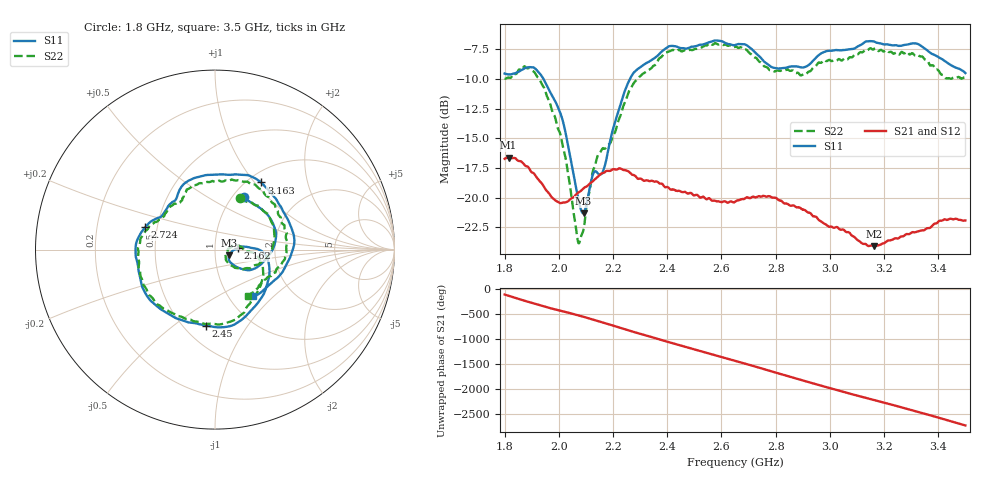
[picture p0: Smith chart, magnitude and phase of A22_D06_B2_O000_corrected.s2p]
! Created with skrf 1.9.0 (http://scikit-rf.org).
# Hz S RI R 50.0
!freq ReS11 ImS11 ReS21 ImS21 ReS12 ImS12 ReS22 ImS22
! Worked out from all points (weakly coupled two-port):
!   1601 points, 1.8 GHz to 3.5 GHz, reference 50 ohm
!   highest |S21| = -16.63 dB at 1.815 GHz (marker M1); lowest = -24.1 dB at 3.164 GHz (marker M2)
!   lowest |S11| = -21.3 dB at 2.091 GHz (marker M3), VSWR 1.19, Z = 58.6 - j3.68 ohm
!   |S11| at or under -10 dB: 1.943 GHz to 2.263 GHz (319.3 MHz wide, 15.2 % of centre)
!   |S22| runs from -23.8 to -7.0 dB; largest |S21 - S12| = 0.0025
!   S11 on the Smith chart (normalised r, x): 1.8 GHz: 1.13, +0.74; 2.162 GHz: 1.29, +0.03; 2.45 GHz: 0.64, -0.66; 2.724 GHz: 0.43, +0.13; 3.163 GHz: 1.15, +1.08; 3.5 GHz: 1.28, -0.75
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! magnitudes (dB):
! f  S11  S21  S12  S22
! 1.8 GHz  -9.6  -16.7  -16.7  -10.0
! 1.815 GHz  -9.6  -16.6  -16.6  -9.9
! 1.88 GHz  -9.1  -17.4  -17.3  -9.1
! 1.943 GHz  -10.0  -19.0  -19.0  -10.7
! 2.013 GHz  -13.4  -20.4  -20.4  -15.4
! 2.068 GHz  -19.6  -19.6  -19.7  -23.3
! 2.084 GHz  -21.1  -19.4  -19.3  -23.2
! 2.091 GHz  -21.3  -19.2  -19.3  -22.7
! 2.128 GHz  -17.9  -18.6  -18.6  -17.6
! 2.162 GHz  -17.8  -17.9  -17.9  -15.9
! 2.259 GHz  -10.2  -17.8  -17.8  -11.0
! 2.367 GHz  -8.0  -18.7  -18.7  -8.4
! 2.45 GHz  -7.4  -19.5  -19.5  -7.7
! 2.65 GHz  -7.2  -20.3  -20.3  -7.3
! 2.724 GHz  -7.8  -20.0  -19.9  -8.2
! 2.799 GHz  -9.1  -20.0  -20.0  -9.4
! 2.934 GHz  -8.6  -21.5  -21.4  -9.2
! 3.163 GHz  -6.9  -24.1  -24.0  -7.5
! 3.164 GHz  -6.9  -24.1  -24.0  -7.5
! 3.217 GHz  -7.1  -23.6  -23.6  -7.7
! 3.324 GHz  -7.1  -22.8  -22.8  -8.0
! 3.5 GHz  -9.5  -21.9  -21.9  -10.0
